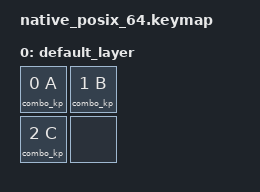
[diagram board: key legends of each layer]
#include <dt-bindings/zmk/keys.h>
#include <behaviors.dtsi>
#include <dt-bindings/zmk/kscan_mock.h>

/ {
    combos {
        compatible = "zmk,combos";
        combo_one {
            timeout-ms = <30>;
            triggers = <0 1>;
            bindings = <&kp X>;
        };

        combo_two {
            timeout-ms = <30>;
            triggers = <0 2>;
            bindings = <&kp Y>;
        };

        combo_three {
            timeout-ms = <30>;
            triggers = <3>;
            bindings = <&kp Z>;
        };
    };

    keymap {
        compatible = "zmk,keymap";

        default_layer {
            bindings = <
                &combo_kp 0 A &combo_kp 1 B
                &combo_kp 2 C &none
            >;
        };
    };
};

&kscan {
    events = <
        /* all permutations of combo one press and release */
        ZMK_MOCK_PRESS(0,0,10)
        ZMK_MOCK_PRESS(0,1,10)
        ZMK_MOCK_RELEASE(0,0,10)
        ZMK_MOCK_RELEASE(0,1,10)

        ZMK_MOCK_PRESS(0,1,10)
        ZMK_MOCK_PRESS(0,0,10)
        ZMK_MOCK_RELEASE(0,1,10)
        ZMK_MOCK_RELEASE(0,0,10)

        ZMK_MOCK_PRESS(0,1,10)
        ZMK_MOCK_PRESS(0,0,10)
        ZMK_MOCK_RELEASE(0,0,10)
        ZMK_MOCK_RELEASE(0,1,10)

        ZMK_MOCK_PRESS(0,0,10)
        ZMK_MOCK_PRESS(0,1,10)
        ZMK_MOCK_RELEASE(0,1,10)
        ZMK_MOCK_RELEASE(0,0,10)

        /* all permutations of combo two press and release */
        ZMK_MOCK_PRESS(0,0,10)
        ZMK_MOCK_PRESS(0,2,10)
        ZMK_MOCK_RELEASE(0,0,10)
        ZMK_MOCK_RELEASE(0,2,10)

        ZMK_MOCK_PRESS(0,2,10)
        ZMK_MOCK_PRESS(0,0,10)
        ZMK_MOCK_RELEASE(0,2,10)
        ZMK_MOCK_RELEASE(0,0,10)

        ZMK_MOCK_PRESS(0,2,10)
        ZMK_MOCK_PRESS(0,0,10)
        ZMK_MOCK_RELEASE(0,0,10)
        ZMK_MOCK_RELEASE(0,2,10)

        ZMK_MOCK_PRESS(0,0,10)
        ZMK_MOCK_PRESS(0,2,10)
        ZMK_MOCK_RELEASE(0,2,10)
        ZMK_MOCK_RELEASE(0,0,10)
    >;
};
